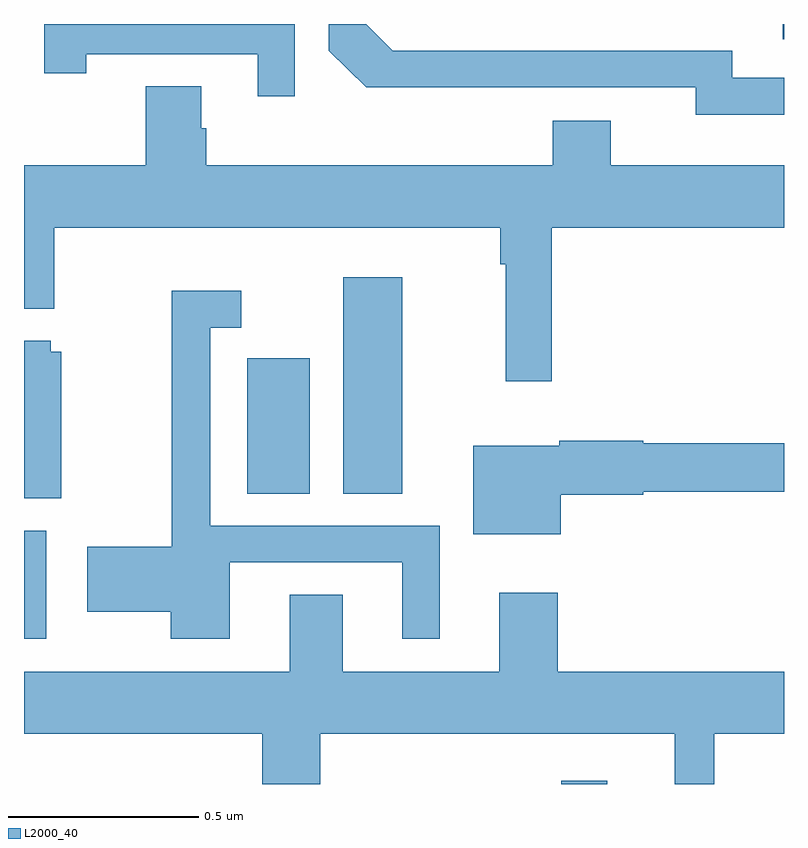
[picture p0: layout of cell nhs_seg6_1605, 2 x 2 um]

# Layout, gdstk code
import gdstk
lib = gdstk.Library(unit=1e-6, precision=1e-09)
def R(c, l, rs):  # rectangles x0, y0, x1, y1
    for r in rs: c.add(gdstk.rectangle(r[:2], r[2:], *l))
def P(c, l, *ps):  # polygons
    for p in ps: c.add(gdstk.Polygon(p, *l))
L2000_40 = (2000, 40)

nhs_seg6_1605 = lib.new_cell('nhs_seg6_1605')
R(nhs_seg6_1605, L2000_40, [(132.414,984.5,132.535,984.508), (131,984.882,131.059,985.167), (131.588,985.264,131.752,985.621), (131.84,985.264,131.995,985.834), (132.997,986.46,133,986.5)])
P(nhs_seg6_1605, L2000_40, [(131.712,986.5),(131.053,986.5),(131.053,986.37),(131.164,986.37),(131.164,986.421),(131.615,986.421),(131.615,986.31),(131.712,986.31)],
  [(133,986.358),(132.864,986.358),(132.864,986.43),(131.97,986.43),(131.9,986.5),(131.802,986.5),(131.802,986.43),(131.9,986.333),(132.308,986.333),(132.308,986.334),(132.768,986.334),(132.768,986.261),(133,986.261)],
  [(132.389,985.964),(133,985.964),(133,986.128),(132.544,986.128),(132.544,986.245),(132.392,986.245),(132.392,986.128),(131.48,986.128),(131.48,986.226),(131.467,986.226),(131.467,986.336),(131.32,986.336),(131.32,986.128),(131,986.128),(131,985.751),(131.079,985.751),(131.079,985.964),(132.253,985.964),(132.253,985.868),(132.268,985.868),(132.268,985.56),(132.389,985.56)],
  [(131.542,985.083),(131.996,985.083),(131.996,984.882),(132.094,984.882),(132.094,985.179),(131.49,985.179),(131.49,985.701),(131.572,985.701),(131.572,985.798),(131.389,985.798),(131.389,985.124),(131.166,985.124),(131.166,984.953),(131.386,984.953),(131.386,984.882),(131.542,984.882)],
  [(131.098,985.638),(131.07,985.638),(131.07,985.666),(131,985.666),(131,985.252),(131.098,985.252)],
  [(132.412,985.261),(132.63,985.261),(132.63,985.269),(133,985.269),(133,985.397),(132.63,985.397),(132.63,985.403),(132.408,985.403),(132.408,985.39),(132.182,985.39),(132.182,985.157),(132.412,985.157)],
  [(131.78,984.632),(132.713,984.632),(132.713,984.5),(132.817,984.5),(132.817,984.632),(133,984.632),(133,984.796),(132.404,984.796),(132.404,985.003),(132.251,985.003),(132.251,984.796),(131.839,984.796),(131.839,984.998),(131.699,984.998),(131.699,984.796),(131,984.796),(131,984.632),(131.627,984.632),(131.627,984.5),(131.78,984.5)])

lib.write_gds('nhs_seg6_1605.gds')
